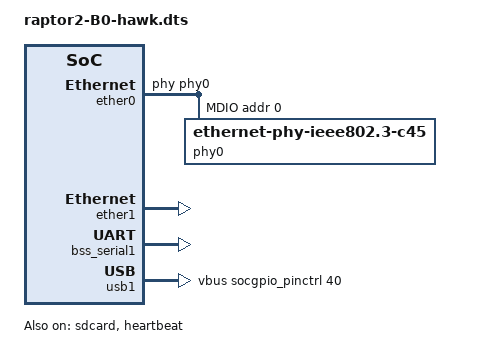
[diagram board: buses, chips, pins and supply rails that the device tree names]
// SPDX-License-Identifier: GPL-2.0
/*
 * EdgeQ Inc.
 *
 *
 * Raptor2 Platform
 */

/dts-v1/;

#include "raptor2-B0-titan.dts"

/ {
	compatible = "edgeq,b0-hawk";

	eq_syscon0: eq_syscon {
		compatible = "edgeq,syscon";
		eq_sif_syscon = <&sif_syscon>;
		eq_gpio_syscon = <&gpio_syscon>;
		sif_conf = <0x3E8 0x5A000000>,	/* XGMAC 1PPS -> GPIO37 */
			   <0x3EC 0x0000005A>,  /* GPS reset -> GPIO38 */
			   <0x2F0 0x00001800>;	/* same as above, set GPIO37/38's msb */
		gpio_conf = <0x68 0x1E0C0000>,	/* GPIO37 to sif output mode */
			    <0x6C 0xFFFF1E50>;	/* GPIO 38 as output mode */
	};
};

&emmc {
	status = "disabled";
};

&sdcard {
	status = "ok";
	/delete-property/ mmc_coherent;
	memory-region = <&emmc_memory>;
};

&heartbeat {
	status = "ok";
};


&ether0 {
	edgeq,pmd-num-chans = <3>;
	edgeq,pmd-start-chan = <0>;
	edgeq,virt-chan-uio-id = <1>;
	phy-addr = <0x0>;
	/delete-property/ phy-rate-match;
	status = "ok";
	phy-handle = <&phy0>;
	mdio0: mdio@0 {
		compatible = "snps,dwmac-mdio";
		#address-cells = <1>;
		#size-cells = <0>;
		phy0: ethernet-phy@0 {
			compatible = "ethernet-phy-ieee802.3-c45";
			reg = <0>;
		};
	};
};

&ether1 {
	edgeq,pmd-num-chans = <3>;
	edgeq,pmd-start-chan = <0>;
	edgeq,virt-chan-uio-id = <2>;
	status = "ok";
};

&ether2 {
	status = "disabled";
};

&ether3 {
	status = "disabled";
};

&ether4 {
	status = "disabled";
};

&bss_serial1 {
	status = "ok";
	clock-frequency = <750000000>;
	gnss {
		status = "okay";
		current-speed = <38400>;
	};
};

/*
 *      uart = 0,1,7,8
 *      pcie_perst = 50
 *      SFP2_PWR_EN = 15
 *      i2c2 = 42,43
 *      i2c3 = 44,45
 *      MV PHY reset = 6
 *      THERAMAL_TRIP = 54
 */
&socgpio {
	status = "disabled";
	gpio-reserved-ranges = <0 2>, <6 3>, <15 1>, <42 4>, <50 1>, <54 1>;
};

&socgpio_pinctrl {
	status = "ok";
	gpio-reserved-ranges = <0 2>, <6 3>, <15 1>, <42 4>, <50 1>, <54 1>;
};

&usb1 {
	status = "ok";
	pinctrl-names = "vbus";
	pinctrl-0 = <&state_vbus_40>;
	vbus-gpios = <&socgpio_pinctrl 40 GPIO_ACTIVE_HIGH>;
};
